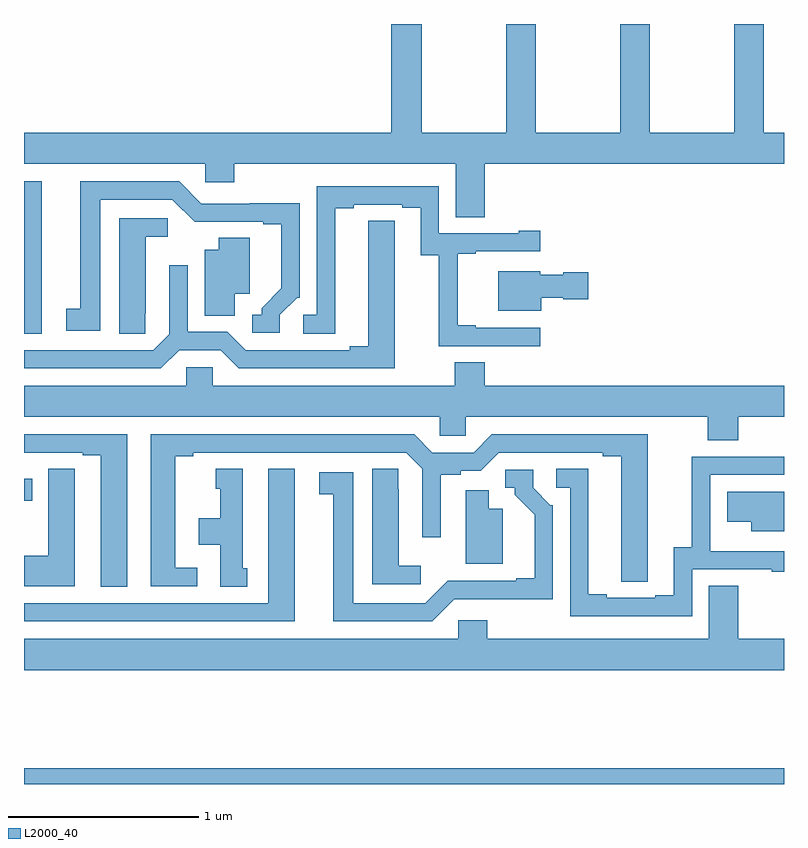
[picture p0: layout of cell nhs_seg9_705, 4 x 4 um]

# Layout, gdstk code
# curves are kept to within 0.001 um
import gdstk
lib = gdstk.Library(unit=1e-6, precision=1e-09)
def R(c, l, rs):  # rectangles x0, y0, x1, y1
    for r in rs: c.add(gdstk.rectangle(r[:2], r[2:], *l))
def P(c, l, *ps):  # polygons
    for p in ps: c.add(gdstk.Polygon(p, *l))
L2000_40 = (2000, 40)

nhs_seg9_705 = lib.new_cell('nhs_seg9_705')
R(nhs_seg9_705, L2000_40, [(147,1182.5,151,1182.584), (147,1183.99,147.043,1184.106), (147,1184.871,147.094,1185.672)])
P(nhs_seg9_705, L2000_40, [(149.426,1185.764),(151,1185.764),(151,1185.928),(150.894,1185.928),(150.894,1186.5),(150.739,1186.5),(150.739,1185.928),(150.294,1185.928),(150.294,1186.5),(150.139,1186.5),(150.139,1185.928),(149.694,1185.928),(149.694,1186.5),(149.539,1186.5),(149.539,1185.928),(149.094,1185.928),(149.094,1186.5),(148.934,1186.5),(148.934,1185.928),(147,1185.928),(147,1185.764),(147.954,1185.764),(147.954,1185.666),(148.106,1185.666),(148.106,1185.764),(149.273,1185.764),(149.273,1185.484),(149.426,1185.484)],
  [(148.347,1184.97),(148.437,1185.06),(148.452,1185.06),(148.452,1185.557),(148.189,1185.557),(148.189,1185.555),(147.933,1185.555),(147.816,1185.672),(147.296,1185.672),(147.296,1185.002),(147.222,1185.002),(147.222,1184.886),(147.4,1184.886),(147.4,1185.576),(147.78,1185.576),(147.898,1185.458),(148.259,1185.459),(148.259,1185.447),(148.355,1185.447),(148.355,1185.11),(148.25,1185.005),(148.25,1184.97),(148.2,1184.97),(148.2,1184.874),(148.347,1184.874)],
  [(149.716,1184.901),(149.377,1184.901),(149.377,1184.914),(149.282,1184.914),(149.282,1185.291),(149.377,1185.291),(149.377,1185.303),(149.716,1185.303),(149.716,1185.412),(149.603,1185.412),(149.603,1185.399),(149.184,1185.399),(149.184,1185.645),(148.542,1185.645),(148.542,1184.97),(148.47,1184.97),(148.47,1184.869),(148.639,1184.869),(148.639,1185.529),(148.735,1185.529),(148.735,1185.549),(148.991,1185.549),(148.991,1185.534),(149.087,1185.534),(149.087,1185.283),(149.182,1185.283),(149.182,1184.805),(149.716,1184.805)],
  [(147.639,1184.977),(147.64,1184.977),(147.64,1185.38),(147.757,1185.38),(147.757,1185.477),(147.5,1185.477),(147.5,1184.869),(147.639,1184.869)],
  [(147.817,1184.784),(148.035,1184.784),(148.131,1184.688),(148.951,1184.688),(148.95,1185.464),(148.811,1185.464),(148.811,1184.804),(148.715,1184.804),(148.715,1184.784),(148.167,1184.784),(148.071,1184.88),(147.861,1184.88),(147.861,1185.229),(147.765,1185.229),(147.765,1184.868),(147.681,1184.784),(147,1184.784),(147,1184.688),(147.721,1184.688)],
  [(148.108,1185.08),(148.189,1185.08),(148.189,1185.374),(148.025,1185.374),(148.025,1185.313),(147.95,1185.313),(147.95,1184.965),(148.108,1184.965)],
  [(149.722,1185.059),(149.838,1185.059),(149.838,1185.052),(149.971,1185.052),(149.971,1185.194),(149.838,1185.194),(149.838,1185.181),(149.718,1185.181),(149.718,1185.199),(149.495,1185.199),(149.495,1184.99),(149.722,1184.99)],
  [(150.758,1184.432),(151,1184.432),(151,1184.596),(149.426,1184.596),(149.426,1184.72),(149.266,1184.72),(149.266,1184.596),(147.993,1184.596),(147.993,1184.694),(147.855,1184.694),(147.855,1184.596),(147,1184.596),(147,1184.432),(149.187,1184.432),(149.187,1184.334),(149.325,1184.334),(149.325,1184.432),(150.598,1184.432),(150.598,1184.308),(150.758,1184.308)],
  [(147.544,1184.34),(147,1184.34),(147,1184.243),(147.032,1184.243),(147.032,1184.244),(147.308,1184.244),(147.308,1184.229),(147.404,1184.229),(147.404,1183.537),(147.544,1183.537)],
  [(147.913,1183.638),(147.796,1183.638),(147.796,1184.224),(147.892,1184.224),(147.892,1184.244),(149.013,1184.244),(149.097,1184.16),(149.097,1183.8),(149.194,1183.8),(149.194,1184.128),(149.298,1184.128),(149.298,1184.148),(149.403,1184.148),(149.499,1184.244),(150.047,1184.244),(150.047,1184.224),(150.143,1184.224),(150.143,1183.564),(150.282,1183.564),(150.283,1184.34),(149.463,1184.34),(149.367,1184.244),(149.149,1184.244),(149.053,1184.34),(147.668,1184.34),(147.668,1183.542),(147.913,1183.542)],
  [(150.516,1183.629),(150.935,1183.629),(150.935,1183.617),(151,1183.617),(151,1183.725),(150.614,1183.725),(150.614,1183.726),(150.612,1183.726),(150.612,1184.127),(151,1184.127),(151,1184.223),(150.514,1184.223),(150.514,1183.745),(150.419,1183.745),(150.419,1183.494),(150.323,1183.494),(150.323,1183.479),(150.067,1183.479),(150.067,1183.499),(149.971,1183.499),(149.971,1184.159),(149.802,1184.159),(149.802,1184.058),(149.874,1184.058),(149.874,1183.383),(150.516,1183.383)],
  [(147.268,1184.051),(147.267,1184.051),(147.267,1184.159),(147.128,1184.159),(147.128,1183.701),(147,1183.701),(147,1183.541),(147.268,1183.541)],
  [(149.089,1183.648),(148.972,1183.648),(148.972,1184.051),(148.971,1184.051),(148.971,1184.159),(148.832,1184.159),(148.832,1183.551),(149.089,1183.551)],
  [(148.174,1183.635),(148.15,1183.635),(148.15,1184.158),(148.01,1184.158),(148.01,1184.055),(148.034,1184.055),(148.034,1183.9),(147.92,1183.9),(147.92,1183.76),(148.034,1183.76),(148.034,1183.537),(148.174,1183.537)],
  [(148.426,1184.158),(148.286,1184.158),(148.286,1183.452),(147,1183.452),(147,1183.356),(148.426,1183.356)],
  [(149.265,1183.473),(149.784,1183.472),(149.784,1183.968),(149.769,1183.968),(149.679,1184.058),(149.679,1184.154),(149.532,1184.154),(149.532,1184.058),(149.582,1184.058),(149.582,1184.023),(149.687,1183.918),(149.687,1183.582),(149.591,1183.582),(149.591,1183.569),(149.229,1183.569),(149.112,1183.452),(148.732,1183.452),(148.732,1184.142),(148.554,1184.142),(148.554,1184.026),(148.628,1184.026),(148.628,1183.356),(149.148,1183.356)],
  [(149.521,1183.948),(149.446,1183.948),(149.446,1184.047),(149.324,1184.047),(149.324,1183.658),(149.521,1183.658)],
  [(151,1184.038),(150.702,1184.038),(150.702,1183.88),(150.827,1183.88),(150.827,1183.829),(151,1183.829)],
  [(151,1183.264),(150.758,1183.264),(150.758,1183.544),(150.605,1183.544),(150.605,1183.264),(149.438,1183.264),(149.438,1183.362),(149.286,1183.362),(149.286,1183.264),(147,1183.264),(147,1183.1),(151,1183.1)])

lib.write_gds('nhs_seg9_705.gds')
